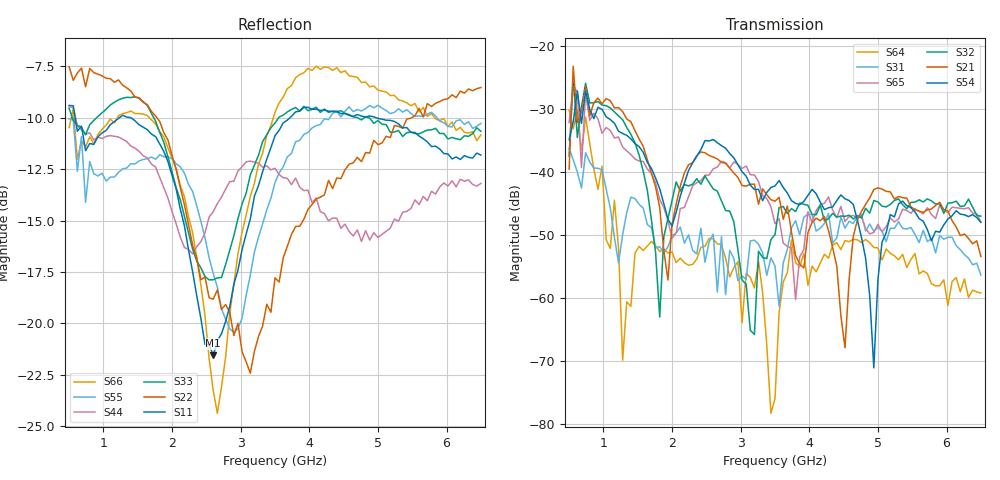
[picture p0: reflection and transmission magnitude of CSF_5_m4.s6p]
!Keysight Technologies,M9804A,MY58100912,A.14.10.03
!Date: Thursday, April 27, 2023 10:28:33
!Correction: S11(C  6-Port  )
!S12(C  6-Port  )
!S13(C  6-Port  )
!S14(C  6-Port  )
!S15(C  6-Port  )
!S16(C  6-Port  )
!S21(C  6-Port  )
!S22(C  6-Port  )
!S23(C  6-Port  )
!S24(C  6-Port  )
!S25(C  6-Port  )
!S26(C  6-Port  )
!S31(C  6-Port  )
!S32(C  6-Port  )
!S33(C  6-Port  )
!S34(C  6-Port  )
!S35(C  6-Port  )
!S36(C  6-Port  )
!S41(C  6-Port  )
!S42(C  6-Port  )
!S43(C  6-Port  )
!S44(C  6-Port  )
!S45(C  6-Port  )
!S46(C  6-Port  )
!S51(C  6-Port  )
!S52(C  6-Port  )
!S53(C  6-Port  )
!S54(C  6-Port  )
!S55(C  6-Port  )
!S56(C  6-Port  )
!S61(C  6-Port  )
!S62(C  6-Port  )
!S63(C  6-Port  )
!S64(C  6-Port  )
!S65(C  6-Port  )
!S66(C  6-Port  )
!S6P File: Measurement: :
# Hz S  RI  R 50
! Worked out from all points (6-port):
!   101 points, 500 MHz to 6.5 GHz, reference 50 ohm
!   strongest paths, dB at 500 MHz, 2 GHz, 3.5 GHz, 5 GHz, 6.5 GHz:
!     S54: -34.9, -48.6, -42.2, -57.0, -48.0
!     S21: -39.5, -48.3, -44.6, -42.5, -53.4
!     S32: -37.5, -44.5, -50.0, -44.8, -47.0
!     S65: -32.2, -50.5, -48.2, -48.3, -48.0
!     S31: -36.3, -50.1, -54.9, -48.8, -56.4
!     S64: -30.2, -52.7, -76.0, -52.1, -59.2
!   lowest |S11| = -21.6 dB at 2.6 GHz (marker M1), VSWR 1.18, Z = 42.6 + j2.11 ohm
!   |S11| at or under -10 dB: 588.3 MHz to 1.232 GHz (644.1 MHz wide, 70.8 % of centre); 1.402 GHz to 3.717 GHz (2.316 GHz wide, 90.5 % of centre); 4.976 GHz to end of sweep
